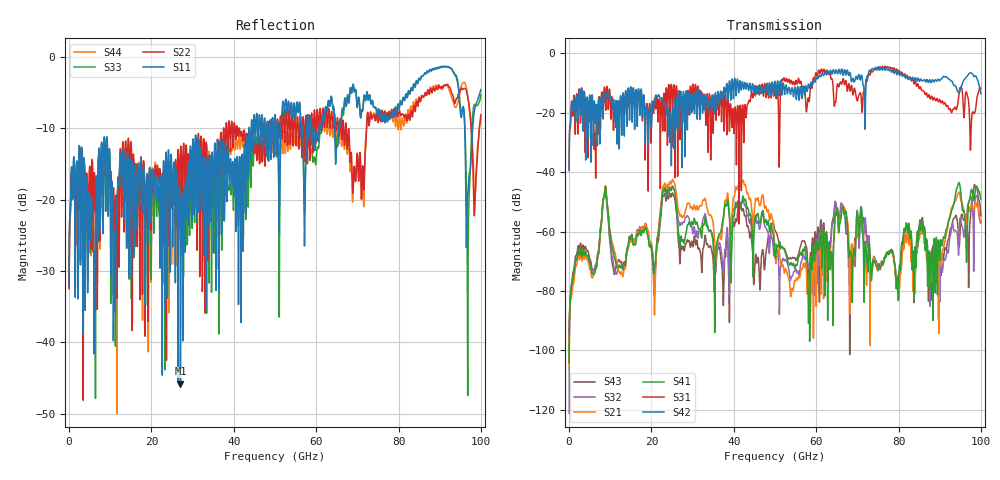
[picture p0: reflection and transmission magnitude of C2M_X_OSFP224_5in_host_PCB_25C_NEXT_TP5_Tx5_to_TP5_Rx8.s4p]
# GHz S RI R 45
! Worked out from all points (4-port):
!   4000 points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, 25 MHz to 100 GHz, reference 45 ohm
!   strongest paths, dB at 25 MHz, 25.02 GHz, 50.02 GHz, 75.03 GHz, 100 GHz:
!     S42: -39.5, -21.5, -9.5, -4.6, -13.6
!     S31: -38.9, -14.8, -10.6, -5.1, -11.7
!     S41: -104.1, -44.9, -68.2, -72.9, -49.2
!     S21: -105.1, -42.7, -67.5, -72.5, -56.7
!     S32: -121.2, -44.9, -64.8, -72.4, -56.6
!     S43: -101.6, -47.1, -59.7, -72.9, -54.8
!   lowest |S11| = -45.8 dB at 27.05 GHz (marker M1), VSWR 1.01, Z = 45.2 - j0.428 ohm
!   |S11| at or under -10 dB: start of sweep to 43.71 GHz; 59.39 GHz to 60.74 GHz (1.355 GHz wide, 2.26 % of centre); 96.08 GHz to 98 GHz (1.928 GHz wide, 1.99 % of centre)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
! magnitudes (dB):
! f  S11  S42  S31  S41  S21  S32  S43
! 25 MHz  -32.0  -39.5  -38.9  -104.1  -105.1  -121.2  -101.6
! 8.65 GHz  -11.7  -15.1  -11.5  -47.0  -46.9  -47.2  -47.1
! 12.72 GHz  -18.4  -22.0  -19.1  -71.5  -73.5  -71.1  -70.2
! 27.05 GHz  -45.8  -13.0  -21.4  -63.0  -54.6  -57.5  -67.4
! 42.38 GHz  -18.8  -12.0  -26.1  -48.5  -43.2  -49.6  -52.9
! 54.1 GHz  -6.7  -11.7  -9.7  -71.1  -79.4  -75.1  -69.0
! 100 GHz  -4.6  -13.6  -11.7  -49.2  -56.7  -56.6  -54.8
